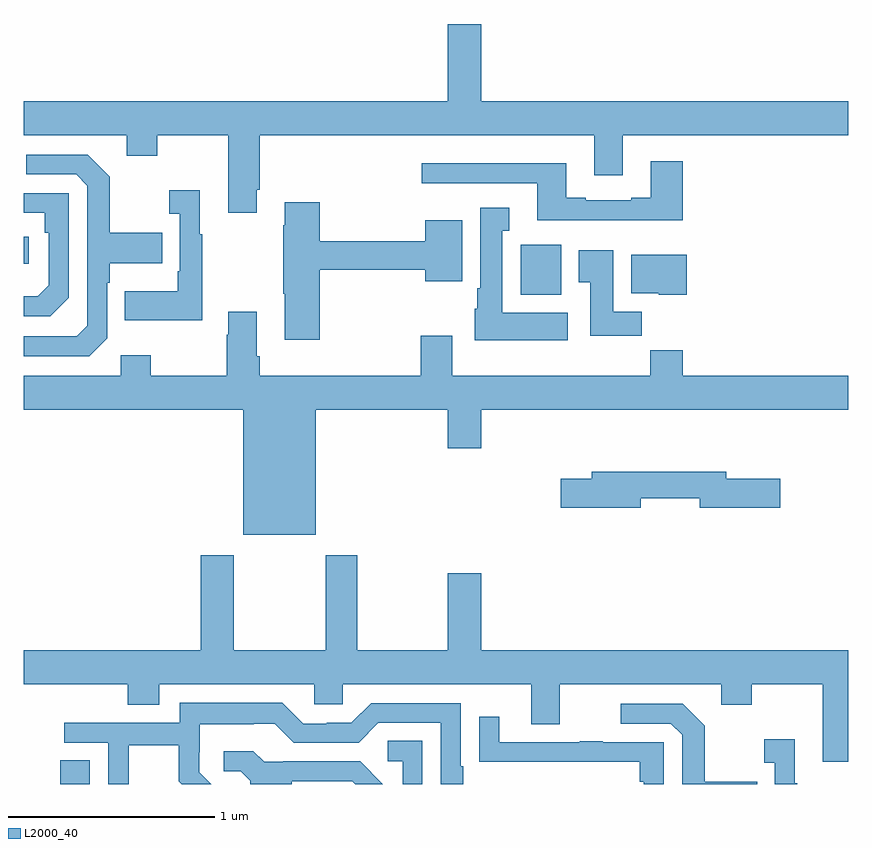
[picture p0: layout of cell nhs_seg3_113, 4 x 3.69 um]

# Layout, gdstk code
import gdstk
lib = gdstk.Library(unit=1e-6, precision=1e-09)
def R(c, l, rs):  # rectangles x0, y0, x1, y1
    for r in rs: c.add(gdstk.rectangle(r[:2], r[2:], *l))
def P(c, l, *ps):  # polygons
    for p in ps: c.add(gdstk.Polygon(p, *l))
L2000_40 = (2000, 40)

nhs_seg3_113 = lib.new_cell('nhs_seg3_113')
R(nhs_seg3_113, L2000_40, [(115.178,732.4,115.321,732.515), (117.41,734.774,117.607,735.016), (115,734.924,115.024,735.054)])
P(nhs_seg3_113, L2000_40, [(116.131,735.283),(116.144,735.283),(116.144,735.548),(117.767,735.548),(117.767,735.354),(117.907,735.354),(117.907,735.548),(119,735.548),(119,735.712),(117.22,735.712),(117.22,736.087),(117.056,736.087),(117.056,735.712),(115,735.712),(115,735.548),(115.499,735.548),(115.499,735.449),(115.647,735.449),(115.647,735.548),(115.991,735.548),(115.991,735.171),(116.131,735.171)],
  [(115.404,734.562),(115.404,734.831),(115.417,734.831),(115.417,734.927),(115.673,734.927),(115.673,735.075),(115.417,735.075),(115.417,735.347),(115.311,735.453),(115.011,735.453),(115.011,735.357),(115.254,735.357),(115.308,735.303),(115.308,734.622),(115.257,734.571),(115,734.571),(115,734.475),(115.317,734.475)],
  [(118.196,735.421),(118.043,735.421),(118.043,735.244),(117.947,735.244),(117.947,735.231),(117.727,735.231),(117.727,735.244),(117.631,735.244),(117.631,735.412),(116.931,735.412),(116.931,735.315),(117.491,735.315),(117.491,735.134),(118.196,735.134)],
  [(115.867,735.067),(115.855,735.067),(115.855,735.28),(115.707,735.28),(115.707,735.167),(115.758,735.167),(115.758,734.887),(115.746,734.887),(115.746,734.791),(115.489,734.791),(115.489,734.651),(115.867,734.651)],
  [(115.218,734.76),(115.218,735.267),(115,735.267),(115,735.171),(115.102,735.171),(115.102,735.074),(115.122,735.074),(115.122,734.82),(115.069,734.767),(115,734.767),(115,734.67),(115.128,734.67)],
  [(116.435,734.896),(116.948,734.896),(116.948,734.84),(117.127,734.84),(117.127,735.136),(116.948,735.136),(116.948,735.032),(116.435,735.032),(116.435,735.223),(116.267,735.223),(116.267,735.11),(116.26,735.11),(116.26,734.779),(116.267,734.779),(116.267,734.556),(116.435,734.556)],
  [(117.64,734.686),(117.322,734.686),(117.322,735.083),(117.355,735.083),(117.355,735.196),(117.215,735.196),(117.215,734.806),(117.2,734.806),(117.2,734.706),(117.188,734.706),(117.188,734.552),(117.64,734.552)],
  [(117.998,734.692),(117.859,734.692),(117.859,734.989),(117.692,734.989),(117.692,734.833),(117.749,734.833),(117.749,734.574),(117.998,734.574)],
  [(118.216,734.968),(117.947,734.968),(117.947,734.78),(118.08,734.78),(118.08,734.774),(118.216,734.774)],
  [(116.416,734.216),(117.056,734.216),(117.056,734.028),(117.22,734.028),(117.22,734.216),(119,734.216),(119,734.38),(118.196,734.38),(118.196,734.504),(118.039,734.504),(118.039,734.38),(117.079,734.38),(117.079,734.575),(116.927,734.575),(116.927,734.38),(116.144,734.38),(116.144,734.476),(116.131,734.476),(116.131,734.692),(115.991,734.692),(115.991,734.579),(115.984,734.579),(115.984,734.38),(115.617,734.38),(115.617,734.479),(115.47,734.479),(115.47,734.38),(115,734.38),(115,734.216),(116.066,734.216),(116.066,733.61),(116.416,733.61)],
  [(117.994,733.786),(118.28,733.786),(118.28,733.739),(118.669,733.739),(118.669,733.881),(118.408,733.881),(118.408,733.915),(117.755,733.915),(117.755,733.881),(117.606,733.881),(117.606,733.739),(117.994,733.739)],
  [(119,733.048),(117.22,733.048),(117.22,733.423),(117.056,733.423),(117.056,733.048),(116.619,733.048),(116.619,733.51),(116.464,733.51),(116.464,733.048),(116.019,733.048),(116.019,733.51),(115.859,733.51),(115.859,733.048),(115,733.048),(115,732.884),(115.505,732.884),(115.505,732.785),(115.657,732.785),(115.657,732.884),(116.409,732.884),(116.409,732.786),(116.547,732.786),(116.547,732.884),(117.461,732.884),(117.461,732.69),(117.601,732.69),(117.601,732.884),(118.385,732.884),(118.385,732.785),(118.533,732.785),(118.533,732.884),(118.877,732.884),(118.877,732.507),(119,732.507)],
  [(115.509,732.588),(115.753,732.588),(115.753,732.413),(115.766,732.4),(115.91,732.4),(115.852,732.458),(115.852,732.555),(115.854,732.555),(115.854,732.689),(116.117,732.689),(116.117,732.693),(116.217,732.693),(116.31,732.6),(116.625,732.6),(116.721,732.696),(117.024,732.696),(117.024,732.4),(117.133,732.4),(117.133,732.487),(117.12,732.487),(117.12,732.792),(116.685,732.792),(116.589,732.696),(116.471,732.696),(116.471,732.693),(116.355,732.693),(116.255,732.793),(115.758,732.793),(115.758,732.696),(115.197,732.696),(115.197,732.6),(115.41,732.6),(115.41,732.4),(115.509,732.4)],
  [(118.559,732.411),(118.303,732.411),(118.303,732.683),(118.197,732.789),(117.897,732.789),(117.897,732.693),(118.14,732.693),(118.194,732.639),(118.194,732.4),(118.559,732.4)],
  [(118.104,732.603),(117.809,732.603),(117.809,732.608),(117.697,732.608),(117.697,732.603),(117.307,732.603),(117.307,732.727),(117.211,732.727),(117.211,732.508),(117.313,732.508),(117.313,732.507),(117.988,732.507),(117.988,732.41),(118.008,732.41),(118.008,732.4),(118.104,732.4)],
  [(118.753,732.403),(118.741,732.403),(118.741,732.616),(118.593,732.616),(118.593,732.503),(118.644,732.503),(118.644,732.4),(118.753,732.4)],
  [(116.934,732.611),(116.766,732.611),(116.766,732.51),(116.838,732.51),(116.838,732.4),(116.934,732.4)],
  [(116.299,732.414),(116.594,732.414),(116.608,732.4),(116.742,732.4),(116.632,732.51),(116.26,732.51),(116.26,732.507),(116.166,732.507),(116.114,732.559),(115.971,732.559),(115.971,732.462),(116.052,732.462),(116.099,732.415),(116.099,732.4),(116.299,732.4)])

lib.write_gds('nhs_seg3_113.gds')
